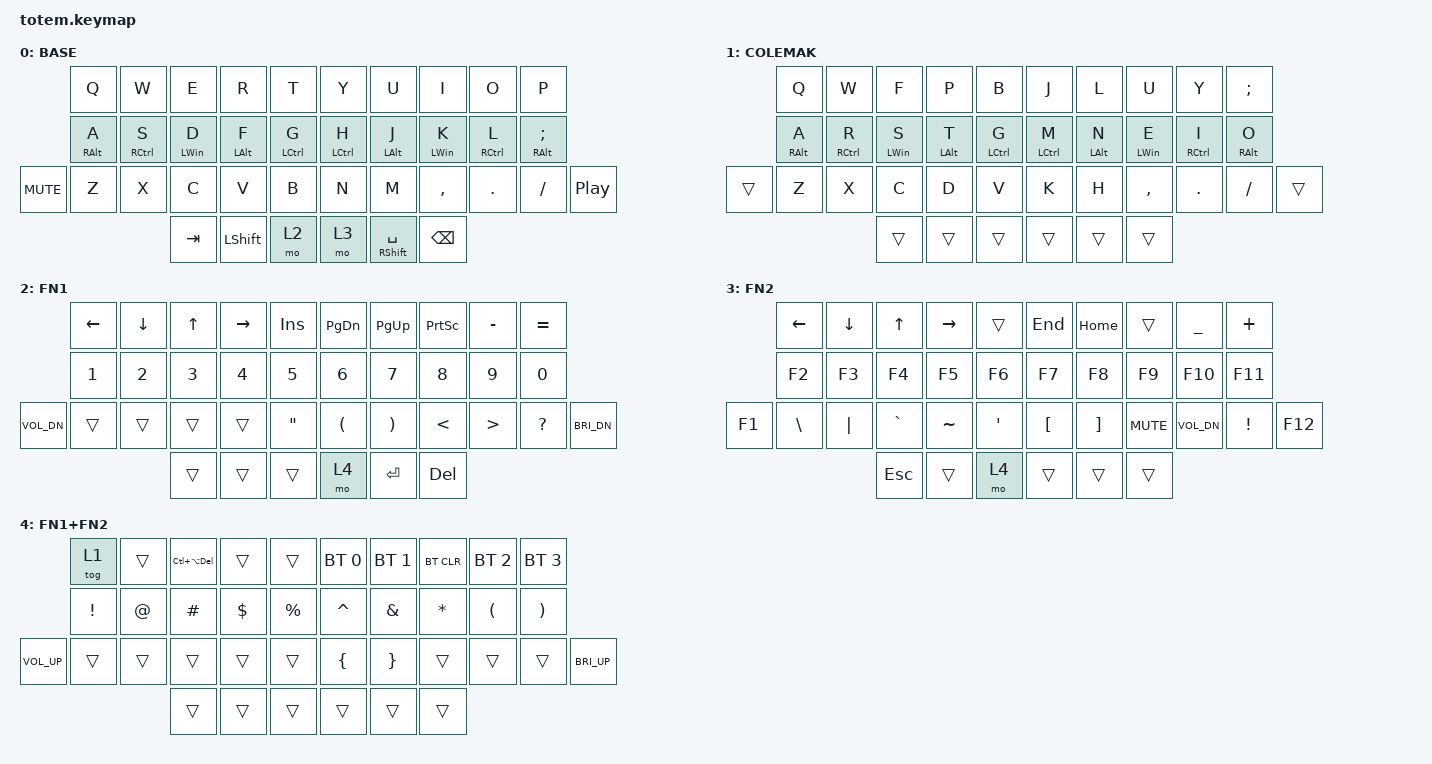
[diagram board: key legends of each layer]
#include <behaviors.dtsi>
#include <dt-bindings/zmk/bt.h>
#include <dt-bindings/zmk/keys.h>

&mt {
    flavor = "tap-preferred";
};

/ {
    combos { compatible = "zmk,combos"; };

    keymap {
        compatible = "zmk,keymap";

        BASE {
            label = "BASE";
            bindings = <
                        &kp Q       &kp W       &kp E       &kp R       &kp T          &kp Y        &kp U           &kp I       &kp O       &kp P
                        &mt RALT A  &mt RCTRL S &mt LWIN D  &mt LALT F  &mt LCTRL G    &mt LCTRL H  &mt LALT J      &mt LWIN K  &mt RCTRL L &mt RALT SEMI
            &kp C_MUTE  &kp Z       &kp X       &kp C       &kp V       &kp B          &kp N        &kp M           &kp COMMA   &kp DOT     &kp FSLH       &kp C_PP
                                                &kp TAB     &kp LSHIFT  &mo 2          &mo 3        &mt RSHFT SPACE &kp BSPC
            >;
        };

        COLEMAK {
            label = "COLEMAK";
            bindings = <
                        &kp Q       &kp W       &kp F       &kp P       &kp B          &kp J        &kp L       &kp U       &kp Y       &kp SEMI
                        &mt RALT A  &mt RCTRL R &mt LWIN S  &mt LALT T  &mt LCTRL G    &mt LCTRL M  &mt LALT N  &mt LWIN E  &mt RCTRL I &mt RALT O
            &trans      &kp Z       &kp X       &kp C       &kp D       &kp V          &kp K        &kp H       &kp COMMA   &kp DOT     &kp FSLH       &trans
                                                &trans      &trans      &trans         &trans       &trans      &trans
            >;
        };

        FN1 {
            label = "FN1";
            bindings = <
                           &kp LEFT  &kp DOWN  &kp UP  &kp RIGHT  &kp INS    &kp PG_DN  &kp PG_UP  &kp PSCRN  &kp MINUS  &kp EQUAL
                           &kp N1    &kp N2    &kp N3  &kp N4     &kp N5     &kp N6     &kp N7     &kp N8     &kp N9     &kp N0
            &kp C_VOL_DN   &trans    &trans    &trans  &trans     &kp DQT    &kp LPAR   &kp RPAR   &kp LT     &kp GT     &kp QMARK  &kp C_BRI_DN
                                               &trans  &trans     &trans     &mo 4      &kp ENTER  &kp DEL
            >;
        };

        FN2 {
            label = "FN2";
            bindings = <
                        &kp LEFT  &kp DOWN  &kp UP     &kp RIGHT  &trans     &kp END   &kp HOME  &trans      &kp UNDER     &kp PLUS
                        &kp F2    &kp F3    &kp F4     &kp F5     &kp F6     &kp F7    &kp F8    &kp F9      &kp F10       &kp F11
            &kp F1      &kp BSLH  &kp PIPE  &kp GRAVE  &kp TILDE  &kp SQT    &kp LBKT  &kp RBKT  &kp K_MUTE  &kp C_VOL_DN  &kp EXCL  &kp F12
                                          &kp ESC    &trans     &mo 4      &trans    &trans    &trans
            >;
        };

        FN1+FN2 {
            bindings = <
                          &tog 1    &trans  &kp LC(LA(DEL))  &trans    &trans       &bt BT_SEL 0  &bt BT_SEL 1  &bt BT_CLR  &bt BT_SEL 2  &bt BT_SEL 3
                          &kp EXCL  &kp AT  &kp HASH         &kp DLLR  &kp PRCNT    &kp CARET     &kp AMPS      &kp STAR    &kp LPAR      &kp RPAR
            &kp C_VOL_UP  &trans    &trans  &trans           &trans    &trans       &kp LBRC      &kp RBRC      &trans      &trans        &trans        &kp C_BRI_UP
                                            &trans           &trans    &trans       &trans        &trans        &trans
            >;
        };
    };
};
